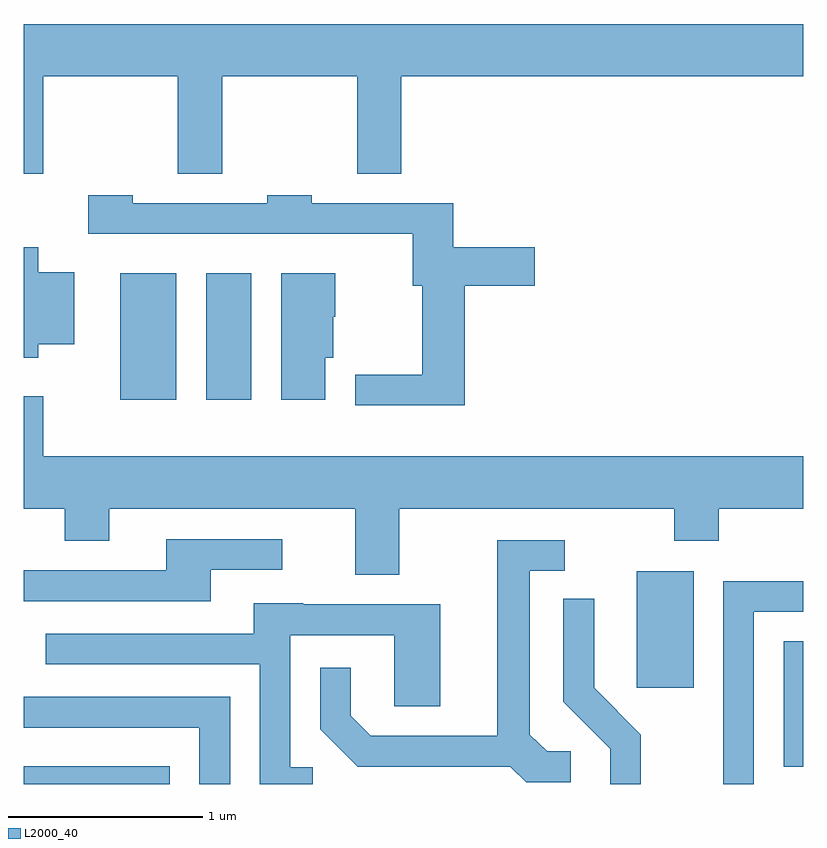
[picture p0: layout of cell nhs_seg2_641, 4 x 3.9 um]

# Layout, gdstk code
import gdstk
lib = gdstk.Library(unit=1e-6, precision=1e-09)
def R(c, l, rs):  # rectangles x0, y0, x1, y1
    for r in rs: c.add(gdstk.rectangle(r[:2], r[2:], *l))
def P(c, l, *ps):  # polygons
    for p in ps: c.add(gdstk.Polygon(p, *l))
L2000_40 = (2000, 40)

nhs_seg2_641 = lib.new_cell('nhs_seg2_641')
R(nhs_seg2_641, L2000_40, [(203.611,1035.802,204.359,1035.894), (207.511,1035.891,207.611,1036.534), (206.756,1036.296,207.049,1036.894), (204.106,1037.776,204.394,1038.424), (204.546,1037.776,204.779,1038.424)])
P(nhs_seg2_641, L2000_40, [(203.709,1039.436),(204.401,1039.436),(204.401,1038.936),(204.629,1038.936),(204.629,1039.436),(205.321,1039.436),(205.321,1038.936),(205.549,1038.936),(205.549,1039.436),(207.611,1039.436),(207.611,1039.704),(203.611,1039.704),(203.611,1038.936),(203.709,1038.936)],
  [(205.874,1038.361),(206.234,1038.361),(206.234,1038.559),(205.814,1038.559),(205.814,1038.784),(205.089,1038.784),(205.089,1038.824),(204.861,1038.824),(204.861,1038.784),(204.169,1038.784),(204.169,1038.824),(203.941,1038.824),(203.941,1038.626),(205.606,1038.626),(205.606,1038.361),(205.656,1038.361),(205.656,1037.904),(205.313,1037.904),(205.313,1037.746),(205.874,1037.746)],
  [(203.684,1038.061),(203.869,1038.061),(203.869,1038.429),(203.684,1038.429),(203.684,1038.559),(203.611,1038.559),(203.611,1037.991),(203.684,1037.991)],
  [(205.159,1037.991),(205.199,1037.991),(205.199,1038.2),(205.209,1038.2),(205.209,1038.424),(204.931,1038.424),(204.931,1037.776),(205.159,1037.776)],
  [(205.539,1037.216),(206.951,1037.216),(206.951,1037.051),(207.179,1037.051),(207.179,1037.216),(207.611,1037.216),(207.611,1037.484),(203.709,1037.484),(203.709,1037.794),(203.611,1037.794),(203.611,1037.216),(203.821,1037.216),(203.821,1037.051),(204.049,1037.051),(204.049,1037.216),(205.311,1037.216),(205.311,1036.876),(205.539,1036.876)],
  [(204.569,1036.901),(204.938,1036.901),(204.938,1037.059),(204.341,1037.059),(204.341,1036.899),(203.611,1036.899),(203.611,1036.741),(204.569,1036.741)],
  [(206.418,1035.969),(206.297,1035.969),(206.209,1036.056),(206.209,1036.896),(206.388,1036.896),(206.388,1037.054),(206.041,1037.054),(206.041,1036.049),(205.392,1036.049),(205.289,1036.152),(205.289,1036.398),(205.131,1036.398),(205.131,1036.084),(205.324,1035.891),(206.109,1035.891),(206.189,1035.811),(206.418,1035.811)],
  [(207.359,1036.686),(207.611,1036.686),(207.611,1036.844),(207.201,1036.844),(207.201,1035.802),(207.359,1035.802)],
  [(206.779,1036.056),(206.539,1036.296),(206.539,1036.753),(206.381,1036.753),(206.381,1036.224),(206.621,1035.984),(206.621,1035.802),(206.779,1035.802)],
  [(205.093,1035.889),(204.979,1035.889),(204.979,1036.566),(205.511,1036.566),(205.511,1036.201),(205.749,1036.201),(205.749,1036.724),(205.045,1036.724),(205.045,1036.729),(204.791,1036.729),(204.791,1036.574),(203.723,1036.574),(203.723,1036.416),(204.821,1036.416),(204.821,1035.802),(205.093,1035.802)],
  [(204.669,1036.249),(203.611,1036.249),(203.611,1036.091),(204.511,1036.091),(204.511,1035.802),(204.669,1035.802)])

lib.write_gds('nhs_seg2_641.gds')
